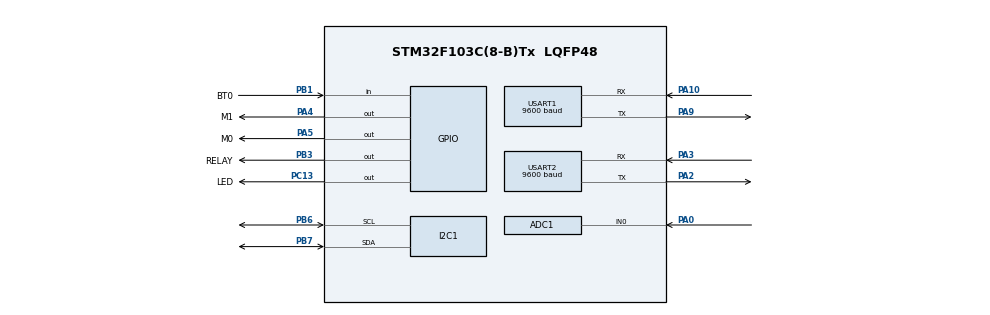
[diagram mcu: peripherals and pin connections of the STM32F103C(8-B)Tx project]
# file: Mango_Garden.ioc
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ADC1.Channel-0\#ChannelRegularConversion=ADC_CHANNEL_0
ADC1.ContinuousConvMode=ENABLE
ADC1.EnableAnalogWatchDog=true
ADC1.NbrOfConversionFlag=1
ADC1.Rank-0\#ChannelRegularConversion=1
ADC1.SamplingTime-0\#ChannelRegularConversion=ADC_SAMPLETIME_239CYCLES_5
ADC1.master=1
Mcu.Family=STM32F1
Mcu.Name=STM32F103C(8-B)Tx
Mcu.Package=LQFP48
NVIC.ADC1_2_IRQn=true\:0\:0\:false\:false\:true\:true\:true\:true
NVIC.PriorityGroup=NVIC_PRIORITYGROUP_4
NVIC.TIM2_IRQn=true\:0\:0\:false\:false\:true\:true\:true\:true
NVIC.USART1_IRQn=true\:0\:0\:false\:false\:true\:true\:true\:true
NVIC.USART2_IRQn=true\:0\:0\:false\:false\:true\:true\:true\:true
PA0-WKUP.Signal=ADCx_IN0
PA10.Mode=Asynchronous
PA10.Signal=USART1_RX
PA13.Mode=Serial_Wire
PA13.Signal=SYS_JTMS-SWDIO
PA14.Mode=Serial_Wire
PA14.Signal=SYS_JTCK-SWCLK
PA2.Mode=Asynchronous
PA2.Signal=USART2_TX
PA3.Mode=Asynchronous
PA3.Signal=USART2_RX
PA4.GPIO_Label=M1
PA4.GPIO_PuPd=GPIO_PULLUP
PA4.Signal=GPIO_Output
PA5.GPIO_Label=M0
PA5.GPIO_PuPd=GPIO_PULLUP
PA5.Signal=GPIO_Output
PA9.Mode=Asynchronous
PA9.Signal=USART1_TX
PB1.GPIO_Label=BT0
PB1.GPIO_PuPd=GPIO_PULLUP
PB1.Signal=GPIO_Input
PB3.GPIO_Label=RELAY
PB3.GPIO_PuPd=GPIO_PULLUP
PB3.Signal=GPIO_Output
PB6.Mode=I2C
PB6.Signal=I2C1_SCL
PB7.Mode=I2C
PB7.Signal=I2C1_SDA
PC13-TAMPER-RTC.GPIO_Label=LED
PC13-TAMPER-RTC.GPIO_PuPd=GPIO_PULLUP
PC13-TAMPER-RTC.Signal=GPIO_Output
ProjectManager.HeapSize=0x200
ProjectManager.StackSize=0x400
ProjectManager.TargetToolchain=STM32CubeIDE
SH.ADCx_IN0.0=ADC1_IN0,IN0
TIM2.Period=50 - 1
TIM2.Prescaler=8000 - 1
USART1.BaudRate=9600
USART1.VirtualMode=VM_ASYNC
USART2.BaudRate=9600
USART2.VirtualMode=VM_ASYNC
VP_TIM2_VS_ClockSourceINT.Mode=Internal
board=custom

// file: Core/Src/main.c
/* USER CODE BEGIN Header */
/**
  ******************************************************************************
  * @file           : main.c
  * @brief          : Main program body
  ******************************************************************************
  * @attention
  *
  * Copyright (c) 2023 STMicroelectronics.
  * All rights reserved.
  *
  * This software is licensed under terms that can be found in the LICENSE file
  * in the root directory of this software component.
  * If no LICENSE file comes with this software, it is provided AS-IS.
  *
  ******************************************************************************
  */
/* USER CODE END Header */
#include "main.h"

/* USER CODE BEGIN Includes */
#include "input.h"
#include "lcd_i2c.h"
#include "global.h"
#include "fsm.h"
#include "timer.h"
#include "trans_data_uart.h"
#include "input.h"
/* USER CODE END Includes */

ADC_HandleTypeDef hadc1;

I2C_HandleTypeDef hi2c1;

TIM_HandleTypeDef htim2;

UART_HandleTypeDef huart1;
UART_HandleTypeDef huart2;

void SystemClock_Config(void);
static void MX_GPIO_Init(void);
static void MX_I2C1_Init(void);
static void MX_USART1_UART_Init(void);
static void MX_TIM2_Init(void);
static void MX_USART2_UART_Init(void);
static void MX_ADC1_Init(void);

int main(void)
{

  /* MCU Configuration--------------------------------------------------------*/

  /* Reset of all peripherals, Initializes the Flash interface and the Systick. */
  HAL_Init();

  /* Configure the system clock */
  SystemClock_Config();

  /* Initialize all configured peripherals */
  MX_GPIO_Init();
  MX_I2C1_Init();
  MX_USART1_UART_Init();
  MX_TIM2_Init();
  MX_USART2_UART_Init();
  MX_ADC1_Init();
  /* USER CODE BEGIN 2 */
  IN_Init(&hadc1);
  CLCD_Init(&hi2c1, 0x3F, 2, 16);

  UART_Init(&huart1, &huart2);
  FSM_Init();

  TM_Init(&htim2);
  TM_SetTime(50);

//  HAL_Delay(1000);
  /* USER CODE END 2 */

  /* Infinite loop */
  /* USER CODE BEGIN WHILE */
  while (1)
  {
	  if(TM_IsFlag()){
		  _counter_time_elapsed += 1;

		  IN_ReadButton();

		  if(_time_screen >= 5) _time_screen -= 5;
		  if(_time_read_data >= 5) _time_read_data -= 5;
//
		  FSM_SystemControl();
		  FSM_LcdDisplay();
//
		  if(_counter_time_elapsed % 10 == 0) HAL_GPIO_TogglePin(LED_GPIO_Port, LED_Pin);

		  CLCD_DisplayScreen();
	  }

    /* USER CODE END WHILE */

  }
}

void SystemClock_Config(void)
{
  RCC_OscInitTypeDef RCC_OscInitStruct = {0};
  RCC_ClkInitTypeDef RCC_ClkInitStruct = {0};
  RCC_PeriphCLKInitTypeDef PeriphClkInit = {0};

  /** Initializes the RCC Oscillators according to the specified parameters
  * in the RCC_OscInitTypeDef structure.
  */
  RCC_OscInitStruct.OscillatorType = RCC_OSCILLATORTYPE_HSI;
  RCC_OscInitStruct.HSIState = RCC_HSI_ON;
  RCC_OscInitStruct.HSICalibrationValue = RCC_HSICALIBRATION_DEFAULT;
  RCC_OscInitStruct.PLL.PLLState = RCC_PLL_NONE;
  if (HAL_RCC_OscConfig(&RCC_OscInitStruct) != HAL_OK)
  {
    Error_Handler();
  }

  /** Initializes the CPU, AHB and APB buses clocks
  */
  RCC_ClkInitStruct.ClockType = RCC_CLOCKTYPE_HCLK|RCC_CLOCKTYPE_SYSCLK
                              |RCC_CLOCKTYPE_PCLK1|RCC_CLOCKTYPE_PCLK2;
  RCC_ClkInitStruct.SYSCLKSource = RCC_SYSCLKSOURCE_HSI;
  RCC_ClkInitStruct.AHBCLKDivider = RCC_SYSCLK_DIV1;
  RCC_ClkInitStruct.APB1CLKDivider = RCC_HCLK_DIV1;
  RCC_ClkInitStruct.APB2CLKDivider = RCC_HCLK_DIV1;

  if (HAL_RCC_ClockConfig(&RCC_ClkInitStruct, FLASH_LATENCY_0) != HAL_OK)
  {
    Error_Handler();
  }
  PeriphClkInit.PeriphClockSelection = RCC_PERIPHCLK_ADC;
  PeriphClkInit.AdcClockSelection = RCC_ADCPCLK2_DIV2;
  if (HAL_RCCEx_PeriphCLKConfig(&PeriphClkInit) != HAL_OK)
  {
    Error_Handler();
  }
}

static void MX_ADC1_Init(void)
{

  ADC_AnalogWDGConfTypeDef AnalogWDGConfig = {0};
  ADC_ChannelConfTypeDef sConfig = {0};

  /** Common config
  */
  hadc1.Instance = ADC1;
  hadc1.Init.ScanConvMode = ADC_SCAN_DISABLE;
  hadc1.Init.ContinuousConvMode = ENABLE;
  hadc1.Init.DiscontinuousConvMode = DISABLE;
  hadc1.Init.ExternalTrigConv = ADC_SOFTWARE_START;
  hadc1.Init.DataAlign = ADC_DATAALIGN_RIGHT;
  hadc1.Init.NbrOfConversion = 1;
  if (HAL_ADC_Init(&hadc1) != HAL_OK)
  {
    Error_Handler();
  }

  /** Configure Analog WatchDog 1
  */
  AnalogWDGConfig.WatchdogMode = ADC_ANALOGWATCHDOG_SINGLE_REG;
  AnalogWDGConfig.HighThreshold = 0;
  AnalogWDGConfig.LowThreshold = 0;
  AnalogWDGConfig.Channel = ADC_CHANNEL_0;
  AnalogWDGConfig.ITMode = DISABLE;
  if (HAL_ADC_AnalogWDGConfig(&hadc1, &AnalogWDGConfig) != HAL_OK)
  {
    Error_Handler();
  }

  /** Configure Regular Channel
  */
  sConfig.Channel = ADC_CHANNEL_0;
  sConfig.Rank = ADC_REGULAR_RANK_1;
  sConfig.SamplingTime = ADC_SAMPLETIME_239CYCLES_5;
  if (HAL_ADC_ConfigChannel(&hadc1, &sConfig) != HAL_OK)
  {
    Error_Handler();
  }

}

static void MX_I2C1_Init(void)
{

  hi2c1.Instance = I2C1;
  hi2c1.Init.ClockSpeed = 100000;
  hi2c1.Init.DutyCycle = I2C_DUTYCYCLE_2;
  hi2c1.Init.OwnAddress1 = 0;
  hi2c1.Init.AddressingMode = I2C_ADDRESSINGMODE_7BIT;
  hi2c1.Init.DualAddressMode = I2C_DUALADDRESS_DISABLE;
  hi2c1.Init.OwnAddress2 = 0;
  hi2c1.Init.GeneralCallMode = I2C_GENERALCALL_DISABLE;
  hi2c1.Init.NoStretchMode = I2C_NOSTRETCH_DISABLE;
  if (HAL_I2C_Init(&hi2c1) != HAL_OK)
  {
    Error_Handler();
  }

}

static void MX_TIM2_Init(void)
{

  TIM_ClockConfigTypeDef sClockSourceConfig = {0};
  TIM_MasterConfigTypeDef sMasterConfig = {0};

  htim2.Instance = TIM2;
  htim2.Init.Prescaler = 8000 - 1;
  htim2.Init.CounterMode = TIM_COUNTERMODE_UP;
  htim2.Init.Period = 50 - 1;
  htim2.Init.ClockDivision = TIM_CLOCKDIVISION_DIV1;
  htim2.Init.AutoReloadPreload = TIM_AUTORELOAD_PRELOAD_DISABLE;
  if (HAL_TIM_Base_Init(&htim2) != HAL_OK)
  {
    Error_Handler();
  }
  sClockSourceConfig.ClockSource = TIM_CLOCKSOURCE_INTERNAL;
  if (HAL_TIM_ConfigClockSource(&htim2, &sClockSourceConfig) != HAL_OK)
  {
    Error_Handler();
  }
  sMasterConfig.MasterOutputTrigger = TIM_TRGO_RESET;
  sMasterConfig.MasterSlaveMode = TIM_MASTERSLAVEMODE_DISABLE;
  if (HAL_TIMEx_MasterConfigSynchronization(&htim2, &sMasterConfig) != HAL_OK)
  {
    Error_Handler();
  }

}

static void MX_USART1_UART_Init(void)
{

  huart1.Instance = USART1;
  huart1.Init.BaudRate = 9600;
  huart1.Init.WordLength = UART_WORDLENGTH_8B;
  huart1.Init.StopBits = UART_STOPBITS_1;
  huart1.Init.Parity = UART_PARITY_NONE;
  huart1.Init.Mode = UART_MODE_TX_RX;
  huart1.Init.HwFlowCtl = UART_HWCONTROL_NONE;
  huart1.Init.OverSampling = UART_OVERSAMPLING_16;
  if (HAL_UART_Init(&huart1) != HAL_OK)
  {
    Error_Handler();
  }

}

static void MX_USART2_UART_Init(void)
{

  huart2.Instance = USART2;
  huart2.Init.BaudRate = 9600;
  huart2.Init.WordLength = UART_WORDLENGTH_8B;
  huart2.Init.StopBits = UART_STOPBITS_1;
  huart2.Init.Parity = UART_PARITY_NONE;
  huart2.Init.Mode = UART_MODE_TX_RX;
  huart2.Init.HwFlowCtl = UART_HWCONTROL_NONE;
  huart2.Init.OverSampling = UART_OVERSAMPLING_16;
  if (HAL_UART_Init(&huart2) != HAL_OK)
  {
    Error_Handler();
  }

}

static void MX_GPIO_Init(void)
{
  GPIO_InitTypeDef GPIO_InitStruct = {0};

  /* GPIO Ports Clock Enable */
  __HAL_RCC_GPIOC_CLK_ENABLE();
  __HAL_RCC_GPIOA_CLK_ENABLE();
  __HAL_RCC_GPIOB_CLK_ENABLE();

  /*Configure GPIO pin Output Level */
  HAL_GPIO_WritePin(LED_GPIO_Port, LED_Pin, GPIO_PIN_RESET);

  /*Configure GPIO pin Output Level */
  HAL_GPIO_WritePin(GPIOA, M1_Pin|M0_Pin, GPIO_PIN_RESET);

  /*Configure GPIO pin Output Level */
  HAL_GPIO_WritePin(RELAY_GPIO_Port, RELAY_Pin, GPIO_PIN_RESET);

  /*Configure GPIO pin : LED_Pin */
  GPIO_InitStruct.Pin = LED_Pin;
  GPIO_InitStruct.Mode = GPIO_MODE_OUTPUT_PP;
  GPIO_InitStruct.Pull = GPIO_PULLUP;
  GPIO_InitStruct.Speed = GPIO_SPEED_FREQ_LOW;
  HAL_GPIO_Init(LED_GPIO_Port, &GPIO_InitStruct);

  /*Configure GPIO pins : M1_Pin M0_Pin */
  GPIO_InitStruct.Pin = M1_Pin|M0_Pin;
  GPIO_InitStruct.Mode = GPIO_MODE_OUTPUT_PP;
  GPIO_InitStruct.Pull = GPIO_PULLUP;
  GPIO_InitStruct.Speed = GPIO_SPEED_FREQ_LOW;
  HAL_GPIO_Init(GPIOA, &GPIO_InitStruct);

  /*Configure GPIO pin : BT0_Pin */
  GPIO_InitStruct.Pin = BT0_Pin;
  GPIO_InitStruct.Mode = GPIO_MODE_INPUT;
  GPIO_InitStruct.Pull = GPIO_PULLUP;
  HAL_GPIO_Init(BT0_GPIO_Port, &GPIO_InitStruct);

  /*Configure GPIO pin : RELAY_Pin */
  GPIO_InitStruct.Pin = RELAY_Pin;
  GPIO_InitStruct.Mode = GPIO_MODE_OUTPUT_PP;
  GPIO_InitStruct.Pull = GPIO_PULLUP;
  GPIO_InitStruct.Speed = GPIO_SPEED_FREQ_LOW;
  HAL_GPIO_Init(RELAY_GPIO_Port, &GPIO_InitStruct);

}

void Error_Handler(void)
{
  __disable_irq();
  while (1)
  {
  }
}
